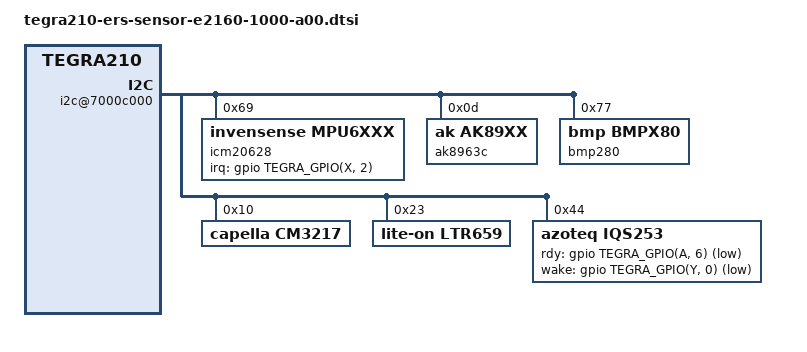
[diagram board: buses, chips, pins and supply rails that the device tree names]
/*
 * Copyright (c) 2014-2015, NVIDIA CORPORATION.  All rights reserved.
 *
 * This program is free software; you can redistribute it and/or modify
 * it under the terms of the GNU General Public License as published by
 * the Free Software Foundation; either version 2 of the License, or
 * (at your option) any later version.
 *
 * This program is distributed in the hope that it will be useful, but WITHOUT
 * ANY WARRANTY; without even the implied warranty of MERCHANTABILITY or
 * FITNESS FOR A PARTICULAR PURPOSE.  See the GNU General Public License for
 * more details.
 *
 * You should have received a copy of the GNU General Public License along
 * with this program; if not, write to the Free Software Foundation, Inc.,
 * 51 Franklin Street, Fifth Floor, Boston, MA  02110-1301, USA.
 */

#include <dt-bindings/gpio/tegra-gpio.h>

/ {
	i2c@7000c000 {
		icm20628@69 {
			compatible = "invensense,mpu6xxx";
			reg = <0x69>;
			interrupt-parent = <&gpio>;
			interrupts = <TEGRA_GPIO(X, 2) 0x01>;
			accelerometer_matrix = [ff 00 00 00 ff 00 00 00 01];
			gyroscope_matrix = [ff 00 00 00 ff 00 00 00 01];
		};

		ak8963c@0d {
			compatible = "ak,ak89xx";
			reg = <0x0d>;
			magnetic_field_matrix = [ff 00 00 00 ff 00 00 00 01];
		};

		bmp280@77 {
			compatible = "bmp,bmpX80";
			reg = <0x77>;
		};

		cm3217@10 {
			compatible = "capella,cm3217";
			reg = <0x10>;
		};

		ltr659@23 {
			compatible = "lite-on,ltr659";
			reg = <0x23>;
			threshold = <125>;
		};

		iqs253@44 {
			compatible = "azoteq,iqs253";
			reg = <0x44>;
			vendor = "Azoteq";
			proximity,max-range = "2"; /* 2 cm */
			proximity,integration-time = "16000000"; /* 16 msec */
			proximity,power-consumed = "1.67"; /* approx mA */
			rdy-gpio = <&gpio TEGRA_GPIO(A, 6) GPIO_ACTIVE_LOW>;
			wake-gpio = <&gpio TEGRA_GPIO(Y, 0) GPIO_ACTIVE_LOW>;
			/* sar-gpio = <&gpio TEGRA_GPIO(I, 2) GPIO_ACTIVE_LOW>; */ /* Fix me! */
		};
	};
};
